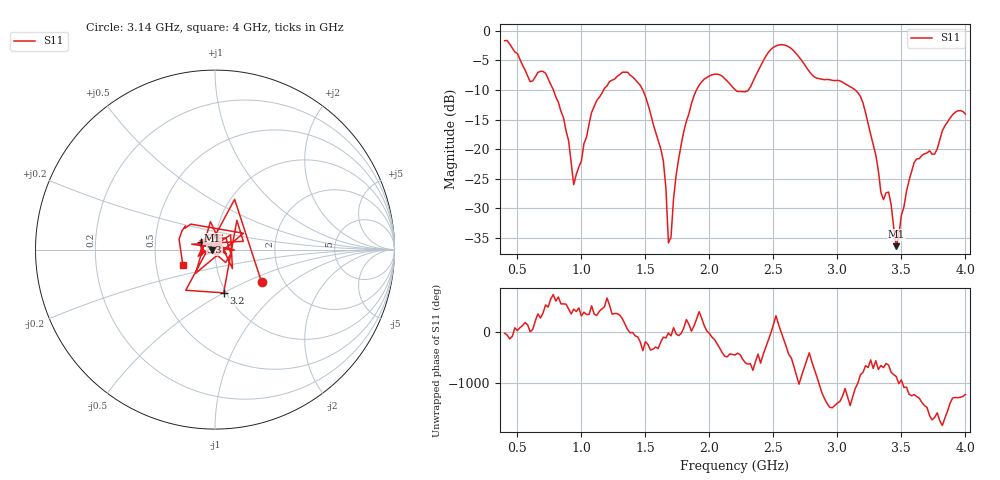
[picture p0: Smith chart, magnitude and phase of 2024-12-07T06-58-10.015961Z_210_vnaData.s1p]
!Created with skrf (http://scikit-rf.org).
# Hz S RI R 50.0
!freq ReS11 ImS11
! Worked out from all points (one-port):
!   181 points, 400 MHz to 4 GHz, reference 50 ohm
!   lowest |S11| = -36.4 dB at 3.46 GHz (marker M1), VSWR 1.03, Z = 48.6 - j0.486 ohm
!   |S11| at or under -10 dB: 781.4 MHz to 1.173 GHz (391.7 MHz wide, 40.1 % of centre); 1.48 GHz to 1.899 GHz (418.9 MHz wide, 24.8 % of centre); 3.139 GHz to end of sweep (the widest 3 of 4)
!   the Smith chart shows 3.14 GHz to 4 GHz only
!   S11 on the Smith chart (normalised r, x): 3.14 GHz: 1.55, -0.62; 3.2 GHz: 0.97, -0.50; 3.3 GHz: 0.85, +0.07; 4 GHz: 0.69, -0.12
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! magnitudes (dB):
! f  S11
! 400 MHz  -1.7
! 600 MHz  -8.6
! 720 MHz  -7.2
! 860 MHz  -14.7
! 940 MHz  -26.0
! 1.08 GHz  -13.8
! 1.3 GHz  -7.4
! 1.52 GHz  -12.4
! 1.64 GHz  -22.0
! 1.66 GHz  -26.5
! 1.68 GHz  -35.8
! 1.7 GHz  -34.8
! 1.76 GHz  -21.6
! 1.94 GHz  -8.6
! 2.2 GHz  -9.9
! 2.3 GHz  -10.1
! 2.5 GHz  -2.8
! 2.66 GHz  -3.4
! 3.1 GHz  -9.5
! 3.14 GHz  -10.0
! 3.2 GHz  -12.2
! 3.3 GHz  -21.0
! 3.34 GHz  -27.3
! 3.4 GHz  -27.2
! 3.46 GHz  -36.4
! 3.56 GHz  -25.3
! 3.9 GHz  -14.2
! 4 GHz  -14.0
